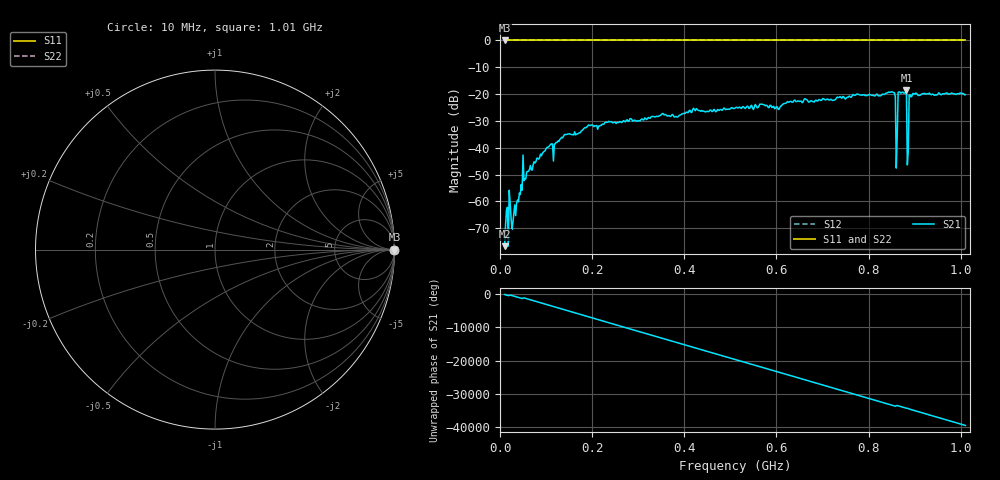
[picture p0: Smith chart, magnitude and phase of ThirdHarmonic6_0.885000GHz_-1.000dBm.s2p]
! 8/16/2025 5:07:51 AM
! C:\ANRITSUVNA\TEMP\TEMP.S2P
! CHANNEL.1
! TR.MEASUREMENT
! RAW.DATA
! RF.CORRECTION.OFF
! AVERAGING.OFF
! IF.BANDWIDTH: 5KHZ
! SWEEPTYPE:  FREQ.SWEEP(Linear)
! Reference Plane Port Info
! PORT:  PORT1  PORT2
! DISTANCE:  0  m  0  m
! TIME:  0  s  0  s
! PHASE.OFFSET:  0  deg.  0  deg.
! LOSS:  0  dB  0  dB
! REF.LOSS:  0  dB  0  dB
! REF.FREQ:  0  Hz  0  Hz
! Power Info
! POWER:  -20  dBm  -20  dBm
! EFF.POWER:  -20  dBm  -20  dBm
! SOURCE.ATTEN:  0  dB  0  dB
! TEST.ATTEN:  0  dB  0  dB
# GHZ S RI R 50.0
! FREQ.GHZ  S11RE  S11IM  S21RE  S21IM  S12RE  S12IM  S22RE  S22IM
!; PortSelection: Port_12
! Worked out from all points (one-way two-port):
!   501 points, 10 MHz to 1.01 GHz, reference 50 ohm
!   highest |S21| = -18.65 dB at 882 MHz (marker M1); lowest = -76.7 dB at 10 MHz (marker M2)
!   lowest |S11| = 0.0 dB at 10 MHz (marker M3)
!   |S11| at or under -10 dB: nowhere
!   |S22| runs from 0.0 to 0.0 dB; largest |S21 - S12| = 1.1
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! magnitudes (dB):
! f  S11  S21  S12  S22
! 10 MHz  0.0  -76.7  0.0  0.0
! 18 MHz  0.0  -76.7  0.0  0.0
! 30 MHz  0.0  -64.6  0.0  0.0
! 46 MHz  0.0  -53.7  0.0  0.0
! 54 MHz  0.0  -51.5  0.0  0.0
! 56 MHz  0.0  -51.6  0.0  0.0
! 108 MHz  0.0  -39.2  0.0  0.0
! 178 MHz  0.0  -33.5  0.0  0.0
! 344 MHz  0.0  -28.3  0.0  0.0
! 510 MHz  0.0  -25.2  0.0  0.0
! 678 MHz  0.0  -22.7  0.0  0.0
! 844 MHz  0.0  -19.2  0.0  0.0
! 854 MHz  0.0  -19.5  0.0  0.0
! 858 MHz  0.0  -21.0  0.0  0.0
! 864 MHz  0.0  -19.4  0.0  0.0
! 868 MHz  0.0  -19.2  0.0  0.0
! 878 MHz  0.0  -19.6  0.0  0.0
! 882 MHz  0.0  -18.6  0.0  0.0
! 888 MHz  0.0  -20.4  0.0  0.0
! 892 MHz  0.0  -21.1  0.0  0.0
! 900 MHz  0.0  -20.0  0.0  0.0
! 1.01 GHz  0.0  -20.2  0.0  0.0
